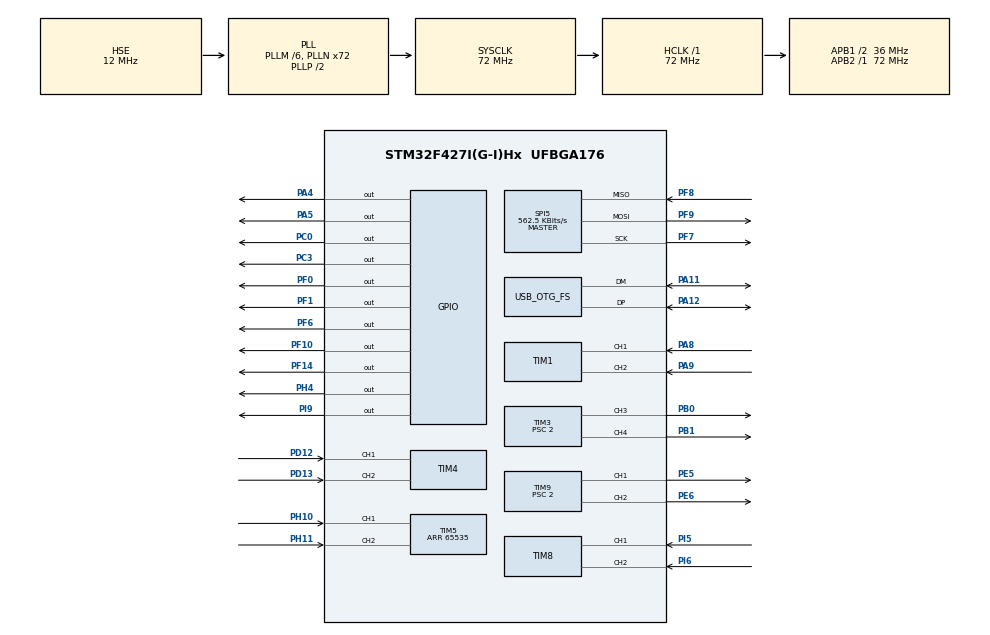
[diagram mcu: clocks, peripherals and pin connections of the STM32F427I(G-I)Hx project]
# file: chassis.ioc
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Mcu.Family=STM32F4
Mcu.Name=STM32F427I(G-I)Hx
Mcu.Package=UFBGA176
NVIC.OTG_FS_IRQn=true\:0\:0\:false\:false\:true\:false\:true\:true
NVIC.PriorityGroup=NVIC_PRIORITYGROUP_4
NVIC.TIM6_DAC_IRQn=true\:0\:0\:false\:false\:true\:true\:true\:true
NVIC.TIM7_IRQn=true\:0\:0\:false\:false\:true\:true\:true\:true
PA11.Mode=Device_Only
PA11.Signal=USB_OTG_FS_DM
PA12.Mode=Device_Only
PA12.Signal=USB_OTG_FS_DP
PA4.Signal=GPIO_Output
PA5.Signal=GPIO_Output
PA8.Signal=S_TIM1_CH1
PA9.Signal=S_TIM1_CH2
PB0.Signal=S_TIM3_CH3
PB1.Signal=S_TIM3_CH4
PC0.Signal=GPIO_Output
PC3.Signal=GPIO_Output
PD12.Signal=S_TIM4_CH1
PD13.Signal=S_TIM4_CH2
PE5.Signal=S_TIM9_CH1
PE6.Signal=S_TIM9_CH2
PF0.Signal=GPIO_Output
PF1.Signal=GPIO_Output
PF10.Signal=GPIO_Output
PF14.Signal=GPIO_Output
PF6.Signal=GPIO_Output
PF7.Mode=Full_Duplex_Master
PF7.Signal=SPI5_SCK
PF8.Mode=Full_Duplex_Master
PF8.Signal=SPI5_MISO
PF9.Mode=Full_Duplex_Master
PF9.Signal=SPI5_MOSI
PH0/OSC_IN.Mode=HSE-External-Oscillator
PH0/OSC_IN.Signal=RCC_OSC_IN
PH1/OSC_OUT.Mode=HSE-External-Oscillator
PH1/OSC_OUT.Signal=RCC_OSC_OUT
PH10.Signal=S_TIM5_CH1
PH11.Signal=S_TIM5_CH2
PH4.PinState=GPIO_PIN_SET
PH4.Signal=GPIO_Output
PI5.Signal=S_TIM8_CH1
PI6.Signal=S_TIM8_CH2
PI9.Signal=GPIO_Output
ProjectManager.HeapSize=0x200
ProjectManager.StackSize=0x400
ProjectManager.TargetToolchain=MDK-ARM V5.32
RCC.48MHZClocksFreq_Value=48000000
RCC.AHBFreq_Value=72000000
RCC.APB1CLKDivider=RCC_HCLK_DIV2
RCC.APB1Freq_Value=36000000
RCC.APB1TimFreq_Value=72000000
RCC.APB2Freq_Value=72000000
RCC.APB2TimFreq_Value=72000000
RCC.CortexFreq_Value=72000000
RCC.HCLKFreq_Value=72000000
RCC.HSE_VALUE=12000000
RCC.HSI_VALUE=16000000
RCC.LSE_VALUE=32768
RCC.PLLM=6
RCC.PLLN=72
RCC.PLLQ=3
RCC.SYSCLKFreq_VALUE=72000000
RCC.SYSCLKSource=RCC_SYSCLKSOURCE_PLLCLK
RCC.VCOOutputFreq_Value=144000000
SH.S_TIM1_CH1.0=TIM1_CH1,Encoder_Interface
SH.S_TIM1_CH2.0=TIM1_CH2,Encoder_Interface
SH.S_TIM3_CH3.0=TIM3_CH3,PWM Generation3 CH3
SH.S_TIM3_CH4.0=TIM3_CH4,PWM Generation4 CH4
SH.S_TIM4_CH1.0=TIM4_CH1,Encoder_Interface
SH.S_TIM4_CH2.0=TIM4_CH2,Encoder_Interface
SH.S_TIM5_CH1.0=TIM5_CH1,Encoder_Interface
SH.S_TIM5_CH2.0=TIM5_CH2,Encoder_Interface
SH.S_TIM8_CH1.0=TIM8_CH1,Encoder_Interface
SH.S_TIM8_CH2.0=TIM8_CH2,Encoder_Interface
SH.S_TIM9_CH1.0=TIM9_CH1,PWM Generation1 CH1
SH.S_TIM9_CH2.0=TIM9_CH2,PWM Generation2 CH2
SPI5.BaudRatePrescaler=SPI_BAUDRATEPRESCALER_128
SPI5.CalculateBaudRate=562.5 KBits/s
SPI5.Direction=SPI_DIRECTION_2LINES
SPI5.Mode=SPI_MODE_MASTER
SPI5.VirtualType=VM_MASTER
TIM1.EncoderMode=TIM_ENCODERMODE_TI12
TIM1.IC1Filter=6
TIM1.IC2Filter=6
TIM3.Channel-PWM\ Generation3\ CH3=TIM_CHANNEL_3
TIM3.Channel-PWM\ Generation4\ CH4=TIM_CHANNEL_4
TIM3.Period=999
TIM3.Prescaler=2
TIM4.EncoderMode=TIM_ENCODERMODE_TI12
TIM4.IC1Filter=6
TIM4.IC2Filter=6
TIM5.EncoderMode=TIM_ENCODERMODE_TI12
TIM5.IC1Filter=6
TIM5.IC2Filter=6
TIM5.Period=65535
TIM6.AutoReloadPreload=TIM_AUTORELOAD_PRELOAD_ENABLE
TIM6.Period=49
TIM6.Prescaler=7199
TIM7.AutoReloadPreload=TIM_AUTORELOAD_PRELOAD_ENABLE
TIM7.Period=49
TIM7.Prescaler=7199
TIM8.EncoderMode=TIM_ENCODERMODE_TI12
TIM8.IC1Filter=6
TIM8.IC2Filter=6
TIM9.Channel-PWM\ Generation1\ CH1=TIM_CHANNEL_1
TIM9.Channel-PWM\ Generation2\ CH2=TIM_CHANNEL_2
TIM9.Period=999
TIM9.Prescaler=2
TIM9.Pulse-PWM\ Generation1\ CH1=0
USB_DEVICE.CLASS_NAME_FS=CDC
USB_DEVICE.VirtualMode-CDC_FS=Cdc
USB_DEVICE.VirtualModeFS=Cdc_FS
USB_OTG_FS.VirtualMode=Device_Only
VP_TIM6_VS_ClockSourceINT.Mode=Enable_Timer
VP_TIM7_VS_ClockSourceINT.Mode=Enable_Timer
VP_USB_DEVICE_VS_USB_DEVICE_CDC_FS.Mode=CDC_FS
board=custom

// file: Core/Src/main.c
/* USER CODE BEGIN Header */
/**
  ******************************************************************************
  * @file           : main.cpp
  * @brief          : Main program body
  ******************************************************************************
  * @attention
  *
  * Copyright (c) 2023 STMicroelectronics.
  * All rights reserved.
  *
  * This software is licensed under terms that can be found in the LICENSE file
  * in the root directory of this software component.
  * If no LICENSE file comes with this software, it is provided AS-IS.
  *
  ******************************************************************************
  */
/* USER CODE END Header */
#include "main.h"
#include "spi.h"
#include "tim.h"
#include "usb_device.h"
#include "gpio.h"

/* USER CODE BEGIN Includes */
#include <stdio.h>
#include "usbd_cdc_if.h"
#include "encoder_control.h"
#include "mecanum.h"
#include "imu.h"
/* USER CODE END Includes */

void SystemClock_Config(void);

/* USER CODE BEGIN 0 */
extern Wheel wheelRB,wheelLB,wheelRF,wheelLF;

/* USER CODE END 0 */

int main(void)
{

  /* MCU Configuration--------------------------------------------------------*/

  /* Reset of all peripherals, Initializes the Flash interface and the Systick. */
  HAL_Init();

  /* Configure the system clock */
  SystemClock_Config();

  /* Initialize all configured peripherals */
  MX_GPIO_Init();
  MX_TIM9_Init();
  MX_TIM6_Init();
  MX_TIM8_Init();
  MX_USB_DEVICE_Init();
  MX_TIM4_Init();
  MX_TIM5_Init();
  MX_TIM3_Init();
  MX_SPI5_Init();
  MX_TIM7_Init();
  MX_TIM1_Init();
  /* USER CODE BEGIN 2 */
	HAL_TIM_Encoder_Start(&htim1, TIM_CHANNEL_ALL);//RB Wheel Encoder
	HAL_TIM_Encoder_Start(&htim4, TIM_CHANNEL_ALL);//LF Wheel Encoder
	HAL_TIM_Encoder_Start(&htim5, TIM_CHANNEL_ALL);//RF Wheel Encoder
	HAL_TIM_Encoder_Start(&htim8, TIM_CHANNEL_ALL);//LB Wheel Encoder
	HAL_TIM_PWM_Start(&htim9,TIM_CHANNEL_1);//RB Wheel pwm
	HAL_TIM_PWM_Start(&htim9,TIM_CHANNEL_2);//LB Wheel pwm
	HAL_TIM_PWM_Start(&htim3,TIM_CHANNEL_3);//RF Wheel pwm
	HAL_TIM_PWM_Start(&htim3,TIM_CHANNEL_4);//LF Wheel pwm
	WheelsInit();//initialize the wheels pin, channel, encoder etc.
	mpu_device_init();//initialize mpu6500
	HAL_TIM_Base_Start_IT(&htim6);//5ms interuption period
	HAL_TIM_Base_Start_IT(&htim7);//5ms interuption period

  /* USER CODE END 2 */

  /* Infinite loop */
  /* USER CODE BEGIN WHILE */
  while (1)
  {
		HAL_Delay(500);
		//Wheels2Speed(CarSpeedActual);//read speed from data
		//USBVcom_printf("当前速度为[%f, %f, %f]，\n 目标速度为[%f, %f, %f]",CarSpeedActual[0],CarSpeedActual[1],CarSpeedActual[2],CarSpeedTarget[0],CarSpeedTarget[1],CarSpeedTarget[2]);//向屏幕输出当前速度和目标速度
		/*
		USBVcom_printf("编码器模式捕获左后轮速度 = %f， 目标速度= %f，\n 右后轮速度 = %f， 目标速度 = %f，\n 左前轮速度 = %f, 目标速度= %f，\n 右前轮速度 = %f， 目标速度 = %f，\n",Pulse2Speed(wheelLB.nEncoderPulse),wheelLB.fSpeedTarget,
		                                                                                           Pulse2Speed(wheelRB.nEncoderPulse),wheelRB.fSpeedTarget,
		                                                                                           Pulse2Speed(wheelLF.nEncoderPulse),wheelLF.fSpeedTarget,
		                                                                                          Pulse2Speed(wheelRF.nEncoderPulse),wheelRF.fSpeedTarget);//向屏幕输出当前速度和目标速度
		*/
		//uint8_t data[]="来了 \n";
		//CDC_Transmit_FS(data,sizeof(data));//直接调用usb的函数输出
		//调用重定向后的usb打印函数
		HAL_GPIO_TogglePin(GPIOF,GPIO_PIN_14);
    /* USER CODE END WHILE */

  }
}

void SystemClock_Config(void)
{
  RCC_OscInitTypeDef RCC_OscInitStruct = {0};
  RCC_ClkInitTypeDef RCC_ClkInitStruct = {0};

  /** Configure the main internal regulator output voltage
  */
  __HAL_RCC_PWR_CLK_ENABLE();
  __HAL_PWR_VOLTAGESCALING_CONFIG(PWR_REGULATOR_VOLTAGE_SCALE3);

  /** Initializes the RCC Oscillators according to the specified parameters
  * in the RCC_OscInitTypeDef structure.
  */
  RCC_OscInitStruct.OscillatorType = RCC_OSCILLATORTYPE_HSE;
  RCC_OscInitStruct.HSEState = RCC_HSE_ON;
  RCC_OscInitStruct.PLL.PLLState = RCC_PLL_ON;
  RCC_OscInitStruct.PLL.PLLSource = RCC_PLLSOURCE_HSE;
  RCC_OscInitStruct.PLL.PLLM = 6;
  RCC_OscInitStruct.PLL.PLLN = 72;
  RCC_OscInitStruct.PLL.PLLP = RCC_PLLP_DIV2;
  RCC_OscInitStruct.PLL.PLLQ = 3;
  if (HAL_RCC_OscConfig(&RCC_OscInitStruct) != HAL_OK)
  {
    Error_Handler();
  }

  /** Initializes the CPU, AHB and APB buses clocks
  */
  RCC_ClkInitStruct.ClockType = RCC_CLOCKTYPE_HCLK|RCC_CLOCKTYPE_SYSCLK
                              |RCC_CLOCKTYPE_PCLK1|RCC_CLOCKTYPE_PCLK2;
  RCC_ClkInitStruct.SYSCLKSource = RCC_SYSCLKSOURCE_PLLCLK;
  RCC_ClkInitStruct.AHBCLKDivider = RCC_SYSCLK_DIV1;
  RCC_ClkInitStruct.APB1CLKDivider = RCC_HCLK_DIV2;
  RCC_ClkInitStruct.APB2CLKDivider = RCC_HCLK_DIV1;

  if (HAL_RCC_ClockConfig(&RCC_ClkInitStruct, FLASH_LATENCY_2) != HAL_OK)
  {
    Error_Handler();
  }
}

void Error_Handler(void)
{
  __disable_irq();
  while (1)
  {
  }
}
